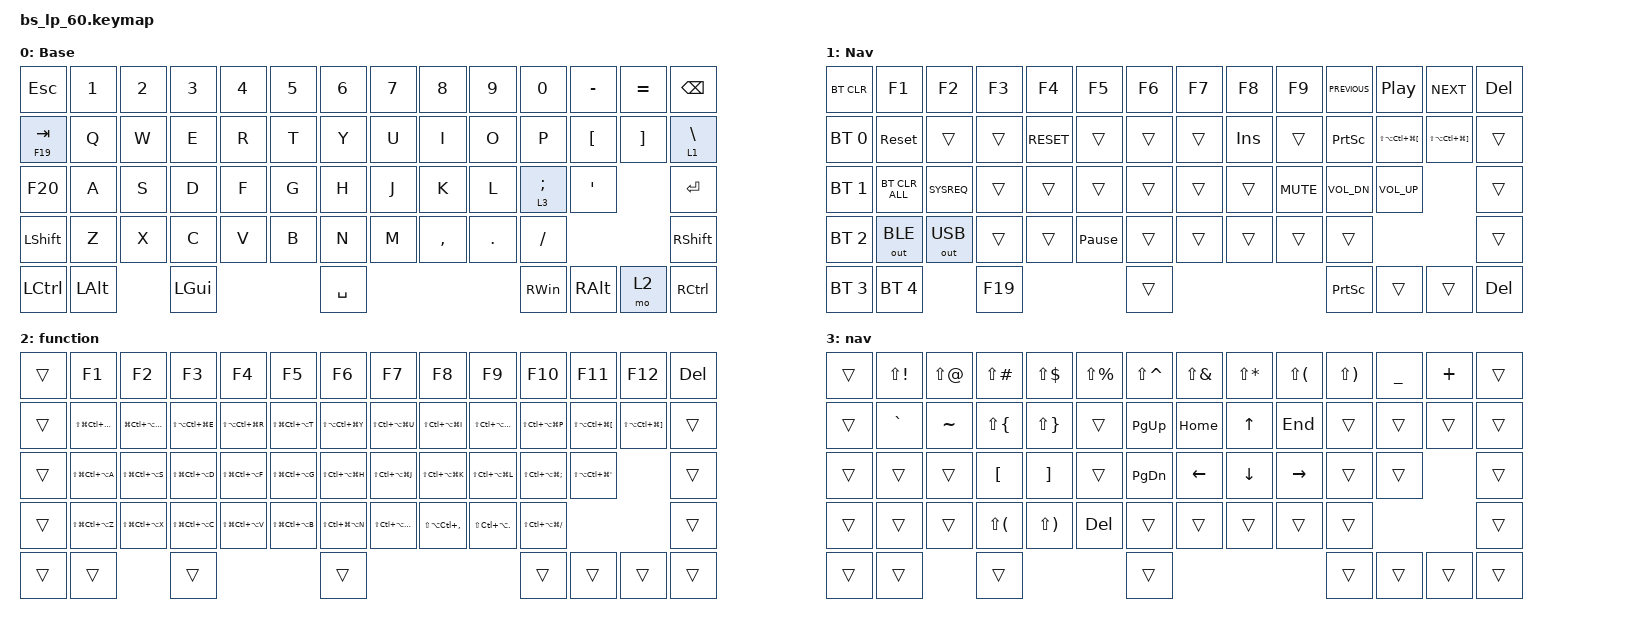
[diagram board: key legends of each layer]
/*
 * Copyright (c) 2021 Cole Smith
 *
 * SPDX-License-Identifier: MIT
 */

#include <dt-bindings/zmk/reset.h>
#include <dt-bindings/zmk/reset.h>
#include <behaviors.dtsi>
#include <dt-bindings/zmk/bt.h>
#include <dt-bindings/zmk/keys.h>
#include <dt-bindings/zmk/outputs.h>

#define BAS_L 0
#define NAV_L 1

&lt { tapping-term-ms = <150>; };

/ {
    combos {
        compatible = "zmk,combos";

        Backtick {
            bindings = <&kp GRAVE>;
            key-positions = <15 16>;
        };

        Delete {
            bindings = <&kp DELETE>;
            key-positions = <27 13>;
        };
    };

    keymap {
        compatible = "zmk,keymap";

        default_layer {
            // ------------------------------------------------------------------------------------------
            // | ESC |  1  |  2  |  3  |  4  |  5  |  6  |  7  |  8  |  9  |  0  |  -  |  =  |   BKSP   |
            // | TAB  |  Q  |  W  |  E  |  R  |  T  |  Y  |  U  |  I  |  O  |  P  |  [  |  ]  |   "|"   |
            // | CAPS  |  A  |  S  |  D  |  F  |  G  |  H  |  J  |  K  |  L  |  ;  |  '  |     ENTER    |
            // |  SHIFT  |  Z  |  X  |  C  |  V  |  B  |  N  |  M  |  ,  |  .  |  /  |      SHIFT       |
            // |  CTL  |  WIN  |  ALT  |            SPACE              |  ALT  |  WIN  |  MO(1) |  CTL  |
            // ------------------------------------------------------------------------------------------

            label = "Base";
            bindings = <
&kp ESCAPE   &kp N1        &kp N2  &kp N3        &kp N4  &kp N5  &kp N6     &kp N7  &kp N8     &kp N9   &kp N0           &kp MINUS       &kp EQUAL  &kp BSPC
&mt F19 TAB  &kp Q         &kp W   &kp E         &kp R   &kp T   &kp Y      &kp U   &kp I      &kp O    &kp P            &kp LBKT        &kp RBKT   &lt 1 BACKSLASH
&kp F20      &kp A         &kp S   &kp D         &kp F   &kp G   &kp H      &kp J   &kp K      &kp L    &lt 3 SEMICOLON  &kp APOSTROPHE             &kp RET
&kp LSHFT    &kp Z         &kp X   &kp C         &kp V   &kp B   &kp N      &kp M   &kp COMMA  &kp DOT  &kp FSLH                                    &kp RSHFT
&kp LCTRL    &kp LEFT_ALT          &kp LEFT_GUI                  &kp SPACE                              &kp RIGHT_WIN    &kp RIGHT_ALT   &mo 2      &kp RCTRL
            >;
        };

        ble_layer {
            // ------------------------------------------------------------------------------------------------
            // | BT CLR | F1  | F2  | F3  | F4  | F5  | F6  | F7  | F8  | F9  | F10  | F11 | F12 |            |
            // |  BT 1   |   |  UP |   |       |       |       |       |   |     |    |     |     |           |
            // |   BT 2   | LT |  DN  | RT |       |       |       |       |   |     |   |     |              |
            // |    BT 3     |     |      |      |     |     |     |     |     |     |     |                  |
            // |   BT 4  |      |      |                                    | PRT SCR |       |       |  DEL  |
            // ------------------------------------------------------------------------------------------------

            label = "Nav";
            bindings = <
&bt BT_CLR    &kp F1          &kp F2        &kp F3   &kp F4       &kp F5           &kp F6  &kp F7  &kp F8      &kp F9      &kp C_PREVIOUS   &kp C_PLAY_PAUSE                  &kp C_NEXT                         &kp DELETE
&bt BT_SEL 0  &sys_reset      &trans        &trans   &kp C_RESET  &trans           &trans  &trans  &kp INSERT  &trans      &kp PRINTSCREEN  &kp LS(LA(LC(LG(LEFT_BRACKET))))  &kp LS(LA(LC(LG(RIGHT_BRACKET))))  &trans
&bt BT_SEL 1  &bt BT_CLR_ALL  &kp SYSREQ    &trans   &trans       &trans           &trans  &trans  &trans      &kp K_MUTE  &kp C_VOL_DN     &kp C_VOL_UP                                                         &trans
&bt BT_SEL 2  &out OUT_BLE    &out OUT_USB  &trans   &trans       &kp PAUSE_BREAK  &trans  &trans  &trans      &trans      &trans                                                                                &trans
&bt BT_SEL 3  &bt BT_SEL 4                  &kp F19                                &trans                                  &kp PSCRN        &trans                            &trans                             &kp DEL
            >;
        };

        function {
            bindings = <
&trans  &kp F1                 &kp F2                 &kp F3                 &kp F4                 &kp F5                 &kp F6                 &kp F7                 &kp F8                 &kp F9                 &kp F10                        &kp F11                           &kp F12                            &kp DELETE
&trans  &kp LS(LG(LC(LA(Q))))  &kp LG(LC(LA(LS(W))))  &kp LS(LA(LC(LG(E))))  &kp LS(LA(LC(LG(R))))  &kp LS(LG(LC(LA(T))))  &kp LS(LA(LC(LG(Y))))  &kp LS(LC(LA(LG(U))))  &kp LS(LC(LA(LG(I))))  &kp LS(LC(LA(LG(O))))  &kp LS(LC(LA(LG(P))))          &kp LS(LA(LC(LG(LEFT_BRACKET))))  &kp LS(LA(LC(LG(RIGHT_BRACKET))))  &trans
&trans  &kp LS(LG(LC(LA(A))))  &kp LS(LG(LC(LA(S))))  &kp LS(LG(LC(LA(D))))  &kp LS(LG(LC(LA(F))))  &kp LS(LG(LC(LA(G))))  &kp LS(LC(LA(LG(H))))  &kp LS(LC(LA(LG(J))))  &kp LS(LC(LA(LG(K))))  &kp LS(LC(LA(LG(L))))  &kp LS(LC(LA(LG(SEMICOLON))))  &kp LS(LA(LC(LG(APOSTROPHE))))                                       &trans
&trans  &kp LS(LG(LC(LA(Z))))  &kp LS(LG(LC(LA(X))))  &kp LS(LG(LC(LA(C))))  &kp LS(LG(LC(LA(V))))  &kp LS(LG(LC(LA(B))))  &kp LS(LC(LG(LA(N))))  &kp LS(LC(LA(LG(M))))  &kp LS(LA(LC(COMMA)))  &kp LS(LC(LA(DOT)))    &kp LS(LC(LA(LG(FSLH))))                                                                            &trans
&trans  &trans                                        &trans                                                               &trans                                                                                      &trans                         &trans                            &trans                             &trans
            >;
        };

        nav {
            bindings = <
&trans  &kp LS(EXCL)  &kp LS(AT)  &kp LS(POUND)  &kp LS(DLLR)  &kp LS(PRCNT)  &kp LS(CARET)  &kp LS(AMPS)  &kp LS(STAR)  &kp LS(LPAR)  &kp LS(RPAR)  &kp UNDERSCORE  &kp PLUS  &trans
&trans  &kp GRAVE     &kp TILDE   &kp LS(LBRC)   &kp LS(RBRC)  &trans         &kp PG_UP      &kp HOME      &kp UP        &kp END       &trans        &trans          &trans    &trans
&trans  &trans        &trans      &kp LBKT       &kp RBKT      &trans         &kp PG_DN      &kp LEFT      &kp DOWN      &kp RIGHT     &trans        &trans                    &trans
&trans  &trans        &trans      &kp LS(LPAR)   &kp LS(RPAR)  &kp DELETE     &trans         &trans        &trans        &trans        &trans                                  &trans
&trans  &trans                    &trans                                      &trans                                                   &trans        &trans          &trans    &trans
            >;
        };
    };
};
